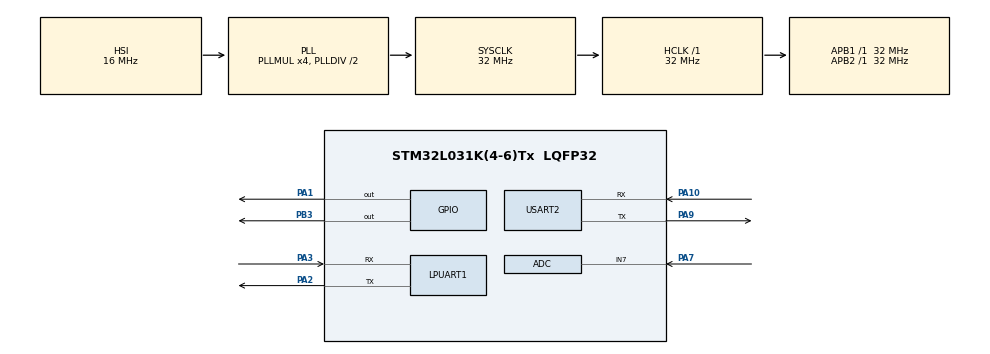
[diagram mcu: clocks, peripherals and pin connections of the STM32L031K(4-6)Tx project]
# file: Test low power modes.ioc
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Mcu.Family=STM32L0
Mcu.Name=STM32L031K(4-6)Tx
Mcu.Package=LQFP32
NVIC.LPUART1_IRQn=true\:0\:0\:false\:false\:true\:true\:true\:true
NVIC.RTC_IRQn=true\:0\:0\:false\:false\:true\:true\:true\:true
NVIC.USART2_IRQn=true\:0\:0\:false\:false\:true\:true\:true\:true
PA0-CK_IN.Mode=SYS_WakeUp0
PA0-CK_IN.Signal=SYS_WKUP1
PA1.Signal=GPIO_Output
PA10.Mode=Asynchronous
PA10.Signal=USART2_RX
PA13.Mode=Serial_Wire
PA13.Signal=SYS_SWDIO
PA14.Mode=Serial_Wire
PA14.Signal=SYS_SWCLK
PA2.Mode=Asynchronous
PA2.Signal=LPUART1_TX
PA3.Mode=Asynchronous
PA3.Signal=LPUART1_RX
PA7.Mode=IN7
PA7.Signal=ADC_IN7
PA9.Mode=Asynchronous
PA9.Signal=USART2_TX
PB3.Signal=GPIO_Output
PC14-OSC32_IN.Mode=LSE-External-Oscillator
PC14-OSC32_IN.Signal=RCC_OSC32_IN
PC15-OSC32_OUT.Mode=LSE-External-Oscillator
PC15-OSC32_OUT.Signal=RCC_OSC32_OUT
ProjectManager.HeapSize=0x200
ProjectManager.StackSize=0x400
ProjectManager.TargetToolchain=STM32CubeIDE
RCC.ADCFreq_Value=16000000
RCC.AHBFreq_Value=32000000
RCC.APB1Freq_Value=32000000
RCC.APB1TimFreq_Value=32000000
RCC.APB2Freq_Value=32000000
RCC.APB2TimFreq_Value=32000000
RCC.HCLKFreq_Value=32000000
RCC.HSE_VALUE=8000000
RCC.HSI16_VALUE=16000000
RCC.HSI_VALUE=16000000
RCC.MSI_VALUE=2097000
RCC.PLLMUL=RCC_PLLMUL_4
RCC.RTCClockSelection=RCC_RTCCLKSOURCE_LSE
RCC.RTCClockSelectionVirtual=RCC_RTCCLKSOURCE_LSE
RCC.SYSCLKFreq_VALUE=32000000
RCC.SYSCLKSource=RCC_SYSCLKSOURCE_PLLCLK
RCC.VCOOutputFreq_Value=64000000
USART2.VirtualMode-Asynchronous=VM_ASYNC
VP_RTC_VS_RTC_Activate.Mode=RTC_Enabled
VP_RTC_VS_RTC_WakeUp_intern.Mode=WakeUp
board=custom

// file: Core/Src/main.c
/* USER CODE BEGIN Header */
/**
  ******************************************************************************
  * @file           : main.c
  * @brief          : Main program body
  ******************************************************************************
  * @attention
  *
  * Copyright (c) 2025 STMicroelectronics.
  * All rights reserved.
  *
  * This software is licensed under terms that can be found in the LICENSE file
  * in the root directory of this software component.
  * If no LICENSE file comes with this software, it is provided AS-IS.
  *
  ******************************************************************************
  */
/* USER CODE END Header */
#include "main.h"

/* USER CODE BEGIN Includes */
#include <string.h>
#include <stdio.h>
/* USER CODE END Includes */

ADC_HandleTypeDef hadc;

UART_HandleTypeDef hlpuart1;
UART_HandleTypeDef huart2;

RTC_HandleTypeDef hrtc;

void SystemClock_Config(void);
static void MX_GPIO_Init(void);
static void MX_ADC_Init(void);
static void MX_LPUART1_UART_Init(void);
static void MX_USART2_UART_Init(void);
static void MX_RTC_Init(void);

/* USER CODE BEGIN 0 */
char *str = {0};
/* USER CODE END 0 */

int main(void)
{

  /* MCU Configuration--------------------------------------------------------*/

  /* Reset of all peripherals, Initializes the Flash interface and the Systick. */
  HAL_Init();

  /* Configure the system clock */
  SystemClock_Config();

  /* Initialize all configured peripherals */
  MX_GPIO_Init();
  MX_ADC_Init();
  MX_LPUART1_UART_Init();
  MX_USART2_UART_Init();
  MX_RTC_Init();
  /* USER CODE BEGIN 2 */

  HAL_GPIO_WritePin(GPIOA, GPIO_PIN_1, GPIO_PIN_SET); // Met la pin à 1

  /* ### Wake up from STAND-BY mode */
  /* STEP 1 : Check if the stand by (SBF - Stand By Flag) mode is set => Test if the STM is waking up from SB mode */
  if (__HAL_PWR_GET_FLAG(PWR_FLAG_SB) != RESET)
  {
	  __HAL_PWR_CLEAR_FLAG(PWR_FLAG_SB); //Clear SBF

	  /* STEP 2 : Display a string announcing the wake up from SB mode */
	  str = "Wake up from Stand-by mode\n\n";
	  //HAL_UART_Transmit(&huart2, (uint8_t *)str, strlen (str), HAL_MAX_DELAY);
	  HAL_UART_Transmit(&huart2, (uint8_t *)str, strlen (str), 10);

	  /* STEP 3 : Blink led */
	  for (int i=0 ; i<20 ; i++)
	  {
		  HAL_GPIO_TogglePin(GPIOB, GPIO_PIN_3);
		  //HAL_GPIO_TogglePin(GPIOA, GPIO_PIN_6);
		  HAL_Delay(200);
	  }

	  /* STEP 4 : Disable the wake up pin (A0) */
	  HAL_PWR_DisableWakeUpPin(PWR_WAKEUP_PIN1);

	  /* STEP 5 : Disable RTC Wake Up */
	  HAL_RTCEx_DeactivateWakeUpTimer(&hrtc);

	  HAL_Delay(3000);
  }

  /* ### Enter STAND-BY mode */
  /* STEP 1 : Clear the Wake-Up (WU) flag*/
  __HAL_PWR_CLEAR_FLAG(PWR_FLAG_WU); //Clear Wake Up Flag
  __HAL_RTC_WAKEUPTIMER_CLEAR_FLAG(&hrtc, RTC_FLAG_WUTF); //Clear RTC Wake Up Flag

  /* STEP 2 : Display a string announcing the upcoming entry into SB mode */
  str = "Upcoming entry into Stand-by mode\n\n";
  HAL_UART_Transmit(&huart2, (uint8_t *)str, strlen (str), HAL_MAX_DELAY);

  /* STEP 3 : Blink led */
  for (int i=0 ; i<5 ; i++)
  {
    HAL_GPIO_TogglePin(GPIOB, GPIO_PIN_3);
	//HAL_GPIO_TogglePin(GPIOA, GPIO_PIN_6);
  	HAL_Delay(750);
  }

  HAL_GPIO_WritePin(GPIOB, GPIO_PIN_3, GPIO_PIN_SET); // Met la pin à 1
  HAL_Delay(3000); // Attendre 1 seconde
  HAL_GPIO_WritePin(GPIOB, GPIO_PIN_3, GPIO_PIN_RESET); // Remet la pin à 0

  /* STEP 4 : Enable the Wake-Up (WU) pin*/
  HAL_PWR_EnableWakeUpPin(PWR_WAKEUP_PIN1);

  /* STEP 5 : Enable RTC Alarm Wake up   */

  /* Details : RTC Wake-Up Interrupt Generation
   * Wake-up time base = (RTC_WAKEUPCLOCK_RTCCLK_DIV /(LSI))
   * ==> WakeUpCounter = Wake-up time / Wake-up time base
   *
   * To configure the wake up timer to 5s the WakeUpCounter is set to 0x2710
   * RTC_WAKEUPCLOCK_RTCCLK_DIV = RTCCLK_Div16 = 16
   * Wake-up time base = 16 /(32kHz) = 0.0005 seconds
   * ==> WakeUpCounter = ~5s/0.0005s = 20000 = 0x2710
   */
  if (HAL_RTCEx_SetWakeUpTimer_IT(&hrtc, 0x9C40, RTC_WAKEUPCLOCK_RTCCLK_DIV16) != HAL_OK)
  {
	 Error_Handler();
  }

  /* STEP 6 : Display a string announcing the upcoming entry into SB mode */
  str = "Stand-By mode activated\n\n";
  HAL_UART_Transmit(&huart2, (uint8_t *)str, strlen (str), HAL_MAX_DELAY);

  /* STEP 7 : Enter Stand-by mode */
  HAL_PWR_EnterSTANDBYMode();

  /* USER CODE END 2 */

  /* Infinite loop */
  while (1)
  {

  }
}

void SystemClock_Config(void)
{
  RCC_OscInitTypeDef RCC_OscInitStruct = {0};
  RCC_ClkInitTypeDef RCC_ClkInitStruct = {0};
  RCC_PeriphCLKInitTypeDef PeriphClkInit = {0};

  /** Configure the main internal regulator output voltage
  */
  __HAL_PWR_VOLTAGESCALING_CONFIG(PWR_REGULATOR_VOLTAGE_SCALE1);

  /** Configure LSE Drive Capability
  */
  HAL_PWR_EnableBkUpAccess();
  __HAL_RCC_LSEDRIVE_CONFIG(RCC_LSEDRIVE_LOW);

  /** Initializes the RCC Oscillators according to the specified parameters
  * in the RCC_OscInitTypeDef structure.
  */
  RCC_OscInitStruct.OscillatorType = RCC_OSCILLATORTYPE_HSI|RCC_OSCILLATORTYPE_LSE;
  RCC_OscInitStruct.LSEState = RCC_LSE_ON;
  RCC_OscInitStruct.HSIState = RCC_HSI_ON;
  RCC_OscInitStruct.HSICalibrationValue = RCC_HSICALIBRATION_DEFAULT;
  RCC_OscInitStruct.PLL.PLLState = RCC_PLL_ON;
  RCC_OscInitStruct.PLL.PLLSource = RCC_PLLSOURCE_HSI;
  RCC_OscInitStruct.PLL.PLLMUL = RCC_PLLMUL_4;
  RCC_OscInitStruct.PLL.PLLDIV = RCC_PLLDIV_2;
  if (HAL_RCC_OscConfig(&RCC_OscInitStruct) != HAL_OK)
  {
    Error_Handler();
  }

  /** Initializes the CPU, AHB and APB buses clocks
  */
  RCC_ClkInitStruct.ClockType = RCC_CLOCKTYPE_HCLK|RCC_CLOCKTYPE_SYSCLK
                              |RCC_CLOCKTYPE_PCLK1|RCC_CLOCKTYPE_PCLK2;
  RCC_ClkInitStruct.SYSCLKSource = RCC_SYSCLKSOURCE_PLLCLK;
  RCC_ClkInitStruct.AHBCLKDivider = RCC_SYSCLK_DIV1;
  RCC_ClkInitStruct.APB1CLKDivider = RCC_HCLK_DIV1;
  RCC_ClkInitStruct.APB2CLKDivider = RCC_HCLK_DIV1;

  if (HAL_RCC_ClockConfig(&RCC_ClkInitStruct, FLASH_LATENCY_1) != HAL_OK)
  {
    Error_Handler();
  }
  PeriphClkInit.PeriphClockSelection = RCC_PERIPHCLK_USART2|RCC_PERIPHCLK_LPUART1
                              |RCC_PERIPHCLK_RTC;
  PeriphClkInit.Usart2ClockSelection = RCC_USART2CLKSOURCE_PCLK1;
  PeriphClkInit.Lpuart1ClockSelection = RCC_LPUART1CLKSOURCE_PCLK1;
  PeriphClkInit.RTCClockSelection = RCC_RTCCLKSOURCE_LSE;
  if (HAL_RCCEx_PeriphCLKConfig(&PeriphClkInit) != HAL_OK)
  {
    Error_Handler();
  }
}

static void MX_ADC_Init(void)
{

  ADC_ChannelConfTypeDef sConfig = {0};

  /** Configure the global features of the ADC (Clock, Resolution, Data Alignment and number of conversion)
  */
  hadc.Instance = ADC1;
  hadc.Init.OversamplingMode = DISABLE;
  hadc.Init.ClockPrescaler = ADC_CLOCK_SYNC_PCLK_DIV2;
  hadc.Init.Resolution = ADC_RESOLUTION_12B;
  hadc.Init.SamplingTime = ADC_SAMPLETIME_1CYCLE_5;
  hadc.Init.ScanConvMode = ADC_SCAN_DIRECTION_FORWARD;
  hadc.Init.DataAlign = ADC_DATAALIGN_RIGHT;
  hadc.Init.ContinuousConvMode = DISABLE;
  hadc.Init.DiscontinuousConvMode = DISABLE;
  hadc.Init.ExternalTrigConvEdge = ADC_EXTERNALTRIGCONVEDGE_NONE;
  hadc.Init.ExternalTrigConv = ADC_SOFTWARE_START;
  hadc.Init.DMAContinuousRequests = DISABLE;
  hadc.Init.EOCSelection = ADC_EOC_SINGLE_CONV;
  hadc.Init.Overrun = ADC_OVR_DATA_PRESERVED;
  hadc.Init.LowPowerAutoWait = DISABLE;
  hadc.Init.LowPowerFrequencyMode = DISABLE;
  hadc.Init.LowPowerAutoPowerOff = DISABLE;
  if (HAL_ADC_Init(&hadc) != HAL_OK)
  {
    Error_Handler();
  }

  /** Configure for the selected ADC regular channel to be converted.
  */
  sConfig.Channel = ADC_CHANNEL_7;
  sConfig.Rank = ADC_RANK_CHANNEL_NUMBER;
  if (HAL_ADC_ConfigChannel(&hadc, &sConfig) != HAL_OK)
  {
    Error_Handler();
  }

}

static void MX_LPUART1_UART_Init(void)
{

  hlpuart1.Instance = LPUART1;
  hlpuart1.Init.BaudRate = 209700;
  hlpuart1.Init.WordLength = UART_WORDLENGTH_7B;
  hlpuart1.Init.StopBits = UART_STOPBITS_1;
  hlpuart1.Init.Parity = UART_PARITY_NONE;
  hlpuart1.Init.Mode = UART_MODE_TX_RX;
  hlpuart1.Init.HwFlowCtl = UART_HWCONTROL_NONE;
  hlpuart1.Init.OneBitSampling = UART_ONE_BIT_SAMPLE_DISABLE;
  hlpuart1.AdvancedInit.AdvFeatureInit = UART_ADVFEATURE_NO_INIT;
  if (HAL_UART_Init(&hlpuart1) != HAL_OK)
  {
    Error_Handler();
  }

}

static void MX_USART2_UART_Init(void)
{

  huart2.Instance = USART2;
  huart2.Init.BaudRate = 115200;
  huart2.Init.WordLength = UART_WORDLENGTH_8B;
  huart2.Init.StopBits = UART_STOPBITS_1;
  huart2.Init.Parity = UART_PARITY_NONE;
  huart2.Init.Mode = UART_MODE_TX_RX;
  huart2.Init.HwFlowCtl = UART_HWCONTROL_NONE;
  huart2.Init.OverSampling = UART_OVERSAMPLING_16;
  huart2.Init.OneBitSampling = UART_ONE_BIT_SAMPLE_DISABLE;
  huart2.AdvancedInit.AdvFeatureInit = UART_ADVFEATURE_NO_INIT;
  if (HAL_UART_Init(&huart2) != HAL_OK)
  {
    Error_Handler();
  }

}

static void MX_RTC_Init(void)
{

  /** Initialize RTC Only
  */
  hrtc.Instance = RTC;
  hrtc.Init.HourFormat = RTC_HOURFORMAT_24;
  hrtc.Init.AsynchPrediv = 127;
  hrtc.Init.SynchPrediv = 255;
  hrtc.Init.OutPut = RTC_OUTPUT_DISABLE;
  hrtc.Init.OutPutRemap = RTC_OUTPUT_REMAP_NONE;
  hrtc.Init.OutPutPolarity = RTC_OUTPUT_POLARITY_HIGH;
  hrtc.Init.OutPutType = RTC_OUTPUT_TYPE_OPENDRAIN;
  if (HAL_RTC_Init(&hrtc) != HAL_OK)
  {
    Error_Handler();
  }

  /** Enable the WakeUp
  */
  if (HAL_RTCEx_SetWakeUpTimer_IT(&hrtc, 0, RTC_WAKEUPCLOCK_RTCCLK_DIV16) != HAL_OK)
  {
    Error_Handler();
  }

}

static void MX_GPIO_Init(void)
{
  GPIO_InitTypeDef GPIO_InitStruct = {0};

  /* GPIO Ports Clock Enable */
  __HAL_RCC_GPIOC_CLK_ENABLE();
  __HAL_RCC_GPIOA_CLK_ENABLE();
  __HAL_RCC_GPIOB_CLK_ENABLE();

  /*Configure GPIO pin Output Level */
  HAL_GPIO_WritePin(GPIOA, GPIO_PIN_1, GPIO_PIN_RESET);

  /*Configure GPIO pin Output Level */
  HAL_GPIO_WritePin(GPIOB, GPIO_PIN_3, GPIO_PIN_RESET);

  /*Configure GPIO pin : PA1 */
  GPIO_InitStruct.Pin = GPIO_PIN_1;
  GPIO_InitStruct.Mode = GPIO_MODE_OUTPUT_PP;
  GPIO_InitStruct.Pull = GPIO_NOPULL;
  GPIO_InitStruct.Speed = GPIO_SPEED_FREQ_LOW;
  HAL_GPIO_Init(GPIOA, &GPIO_InitStruct);

  /*Configure GPIO pin : PB3 */
  GPIO_InitStruct.Pin = GPIO_PIN_3;
  GPIO_InitStruct.Mode = GPIO_MODE_OUTPUT_PP;
  GPIO_InitStruct.Pull = GPIO_NOPULL;
  GPIO_InitStruct.Speed = GPIO_SPEED_FREQ_LOW;
  HAL_GPIO_Init(GPIOB, &GPIO_InitStruct);

}

void Error_Handler(void)
{
  __disable_irq();
  while (1)
  {
  }
}
